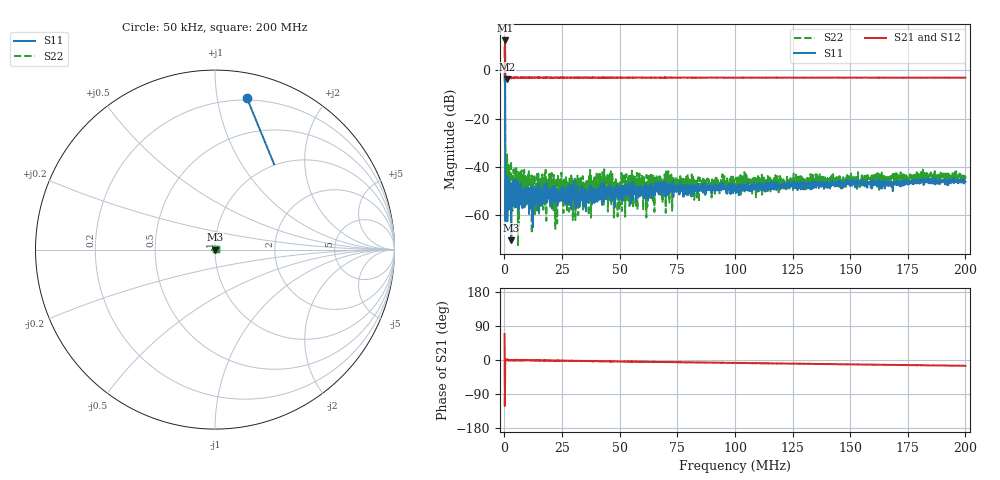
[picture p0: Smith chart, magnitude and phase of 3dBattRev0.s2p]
! 19-Feb-26 1:30:10 PM
! E:\VNA_MEASUREMENTS\RECBLOCK\3DBATTREV0.S2P
! CHANNEL.1
! TR.MEASUREMENT
! CORRECTED.DATA
# GHZ S RI R 50.0
! FREQ.GHZ  S11RE  S11IM  S21RE  S21IM  S12RE  S12IM  S22RE  S22IM
!; PortSelection: Port_12
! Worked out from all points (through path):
!   2000 points, 50 kHz to 200 MHz, reference 50 ohm
!   highest |S21| = 12.42 dB at 250 kHz (marker M1); lowest = -3.5 dB at 1.05 MHz (marker M2)
!   lowest |S11| = -70.5 dB at 2.951 MHz (marker M3), VSWR 1.00, Z = 50 + j0.0246 ohm
!   |S11| at or under -10 dB: 284.8 kHz to end of sweep
!   |S22| runs from -72.9 to 6.0 dB; largest |S21 - S12| = 5.1
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5e-05  0.1779 0.8443  1.057 2.706  0.2968 0.1788  -1.398 0.476
0.00025005  -0.3621 2.342  1.628 -3.847  0.259 1.113  0.896 -1.791
0.00105025  -0.000488 0.00237  0.666 -0.0095  0.7054 -0.000492  -0.018 -0.00293
0.001150275  0.00577 0.00243  0.7249 0.0285  0.7091 -0.00586  0.011 0.0136
0.001350325  -0.00306 0.00176  0.6981 -0.00146  0.7002 -0.00508  -0.00237 0.000544
0.002950725  -0.000169 0.000246  0.7098 -0.00375  0.7108 -0.000474  0.00396 -2.87e-05
0.004851201  0.00326 0.00408  0.7146 0.00968  0.7061 -0.00419  0.00771 0.00618
0.01075268  0.00225 0.000985  0.7068 -0.00392  0.7078 -0.0107  0.00462 0.00299
0.0128532  0.00155 0.000342  0.7103 -0.0183  0.7044 -0.0118  0.00102 -0.00231
0.0208552  0.00187 0.000434  0.7017 -0.0172  0.7087 -0.0186  0.00407 0.00403
0.0220555  0.00296 0.00113  0.7092 -0.0261  0.7063 -0.0228  0.000512 -7.65e-05
0.02415603  0.00301 0.000867  0.7109 -0.0204  0.71 -0.0235  0.00389 -0.000695
0.03345835  0.00151 0.00139  0.7138 -0.0283  0.7073 -0.0326  0.00141 -0.00204
0.04186045  0.00335 0.000617  0.7085 -0.0388  0.7035 -0.0389  0.00283 0.000734
0.04846211  0.0028 0.00133  0.709 -0.0459  0.7073 -0.0454  0.00204 0.00156
0.05906476  0.00298 0.00136  0.7082 -0.0535  0.7036 -0.0577  0.00209 0.00305
0.06106526  0.00178 0.00135  0.7083 -0.057  0.7047 -0.0587  0.00272 0.00315
0.06676668  0.00393 0.0029  0.7028 -0.0637  0.7055 -0.0649  0.00294 0.00156
0.100075  0.00332 0.0018  0.702 -0.0965  0.7007 -0.0947  0.00311 0.00182
0.1333833  0.00404 0.00225  0.6957 -0.1295  0.6948 -0.1256  0.00523 0.0042
0.1666917  0.00296 0.00282  0.6911 -0.1558  0.6858 -0.1553  0.00552 0.00394
0.2  0.00382 0.00307  0.6825 -0.1866  0.6807 -0.1844  0.00407 0.00399
